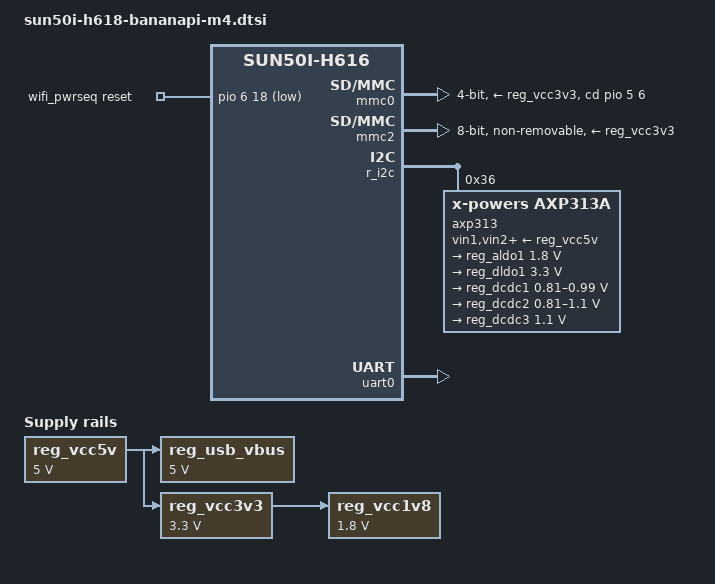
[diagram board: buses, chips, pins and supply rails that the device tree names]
// SPDX-License-Identifier: (GPL-2.0+ OR MIT)
/*
 * Copyright (c) 2025 Patrick Yavitz <pyavitz@armbian.com>
 *
 * Изменено для Marvin: убраны узлы, которых нет в mainline 6.18 (аудиохаб,
 * дисплей с HDMI, второй Ethernet) и отключённая периферия, ссылавшаяся на
 * pinctrl-определения из патч-сета Armbian (i2c1/3/4, uart1/4/5, spi0/1, ir).
 * Оригинал собирается только поверх патчей Armbian; здесь нужен файл,
 * собирающийся на mainline.
 */

/dts-v1/;

#include "sun50i-h616.dtsi"
#include "sun50i-h616-cpu-opp.dtsi"

#include <dt-bindings/gpio/gpio.h>
#include <dt-bindings/input/linux-event-codes.h>
#include <dt-bindings/interrupt-controller/arm-gic.h>
#include <dt-bindings/leds/common.h>

/ {
	aliases {
		serial0 = &uart0;
	};

	chosen {
		stdout-path = "serial0:115200n8";
	};

	reg_usb_vbus: regulator-usb-vbus {
		/* Отдельный регулятор на USB-порты */
		compatible = "regulator-fixed";
		regulator-min-microvolt = <5000000>;
		regulator-max-microvolt = <5000000>;
		regulator-name = "usb-vbus";
		vin-supply = <&reg_vcc5v>;
	};

	reg_vcc5v: regulator-vcc5v {
		/* 5 В с разъёма USB-C на всю плату */
		compatible = "regulator-fixed";
		regulator-always-on;
		regulator-min-microvolt = <5000000>;
		regulator-max-microvolt = <5000000>;
		regulator-name = "vcc-5v";
	};

	reg_vcc3v3: regulator-vcc3v3 {
		compatible = "regulator-fixed";
		regulator-always-on;
		regulator-min-microvolt = <3300000>;
		regulator-max-microvolt = <3300000>;
		regulator-name = "vcc-3v3";
		vin-supply = <&reg_vcc5v>;
	};

	reg_vcc1v8: regulator-vcc1v8 {
		compatible = "regulator-fixed";
		regulator-always-on;
		regulator-min-microvolt = <1800000>;
		regulator-max-microvolt = <1800000>;
		regulator-name = "vcc-1v8";
		vin-supply = <&reg_vcc3v3>;
	};

	wifi_pwrseq: wifi-pwrseq {
		compatible = "mmc-pwrseq-simple";
		clocks = <&rtc CLK_OSC32K_FANOUT>;
		clock-names = "ext_clock";
		pinctrl-0 = <&x32clk_fanout_pin>;
		pinctrl-names = "default";
		post-power-on-delay-ms = <200>;
		reset-gpios = <&pio 6 18 GPIO_ACTIVE_LOW>; /* PG18 */
	};
};

&cpu0 {
	cpu-supply = <&reg_dcdc2>;
};

/* SD-карта: с неё идёт первичная загрузка при bring-up. */
&mmc0 {
	status = "okay";
	bus-width = <4>;
	max-frequency = <50000000>;

	disable-wp;

	cd-gpios = <&pio 5 6 GPIO_ACTIVE_HIGH>;	/* PF6 */
	vmmc-supply = <&reg_vcc3v3>;
};

/* eMMC */
&mmc2 {
	status = "okay";
	bus-width = <8>;
	cap-mmc-hw-reset;
	mmc-hs200-1_8v;

	non-removable;
	disable-wp;

	vmmc-supply = <&reg_vcc3v3>;
	vqmmc-supply = <&reg_vcc1v8>;
};

&pio {
	vcc-pc-supply = <&reg_aldo1>;
	vcc-pf-supply = <&reg_dldo1>;
	vcc-pg-supply = <&reg_dldo1>;
	vcc-ph-supply = <&reg_dldo1>;
	vcc-pi-supply = <&reg_dldo1>;

	mmc2_pins: mmc2-pins {
		pins = "PC1", "PC5", "PC6",
		       "PC8", "PC9", "PC10", "PC11",
		       "PC13", "PC14", "PC15", "PC16";
		function = "mmc2";
		drive-strength = <30>;
		bias-pull-up;
	};
};

/* PMIC: задаёт напряжения CPU, DRAM и линий ввода-вывода. Без него плата
 * не поднимется — это не опциональная периферия. */
&r_i2c {
	status = "okay";
	axp313: pmic@36 {
		compatible = "x-powers,axp313a";
		reg = <0x36>;
		#interrupt-cells = <1>;
		interrupt-controller;
		interrupt-parent = <&pio>;

		vin1-supply = <&reg_vcc5v>;
		vin2-supply = <&reg_vcc5v>;
		vin3-supply = <&reg_vcc5v>;

		regulators {
			reg_aldo1: aldo1 {
				regulator-always-on;
				regulator-min-microvolt = <1800000>;
				regulator-max-microvolt = <1800000>;
				regulator-name = "vcc-1v8-pll";
			};

			reg_dldo1: dldo1 {
				regulator-always-on;
				regulator-min-microvolt = <3300000>;
				regulator-max-microvolt = <3300000>;
				regulator-name = "vcc-3v3-io";
			};

			reg_dcdc1: dcdc1 {
				regulator-always-on;
				regulator-min-microvolt = <810000>;
				regulator-max-microvolt = <990000>;
				regulator-name = "vdd-gpu-sys";
			};

			reg_dcdc2: dcdc2 {
				regulator-always-on;
				regulator-min-microvolt = <810000>;
				regulator-max-microvolt = <1100000>;
				regulator-name = "vdd-cpu";
			};

			reg_dcdc3: dcdc3 {
				regulator-always-on;
				regulator-min-microvolt = <1100000>;
				regulator-max-microvolt = <1100000>;
				regulator-name = "vdd-dram";
			};
		};
	};
};

/* Консоль bring-up. Скорость зафиксирована в chosen/stdout-path. */
&uart0 {
	status = "okay";
	pinctrl-0 = <&uart0_ph_pins>;
	pinctrl-names = "default";
};
